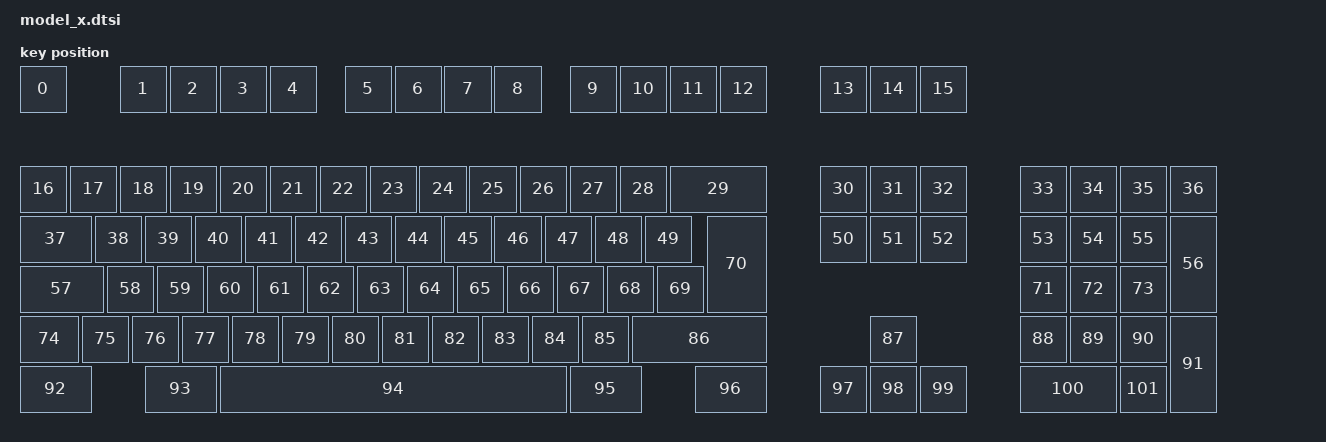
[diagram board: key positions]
#include <physical_layouts.dtsi>

/ {
    model_x_physical_layout: model_x_physical_layout {
        compatible = "zmk,physical-layout";
        display-name = "Default";
        transform = <&default_transform>;

        keys  //                     w   h    x    y     rot    rx    ry
            = <&key_physical_attrs 100 100    0    0       0     0     0>
            , <&key_physical_attrs 100 100  200    0       0     0     0>
            , <&key_physical_attrs 100 100  300    0       0     0     0>
            , <&key_physical_attrs 100 100  400    0       0     0     0>
            , <&key_physical_attrs 100 100  500    0       0     0     0>
            , <&key_physical_attrs 100 100  650    0       0     0     0>
            , <&key_physical_attrs 100 100  750    0       0     0     0>
            , <&key_physical_attrs 100 100  850    0       0     0     0>
            , <&key_physical_attrs 100 100  950    0       0     0     0>
            , <&key_physical_attrs 100 100  1100   0       0     0     0>
            , <&key_physical_attrs 100 100  1200   0       0     0     0>
            , <&key_physical_attrs 100 100  1300   0       0     0     0>
            , <&key_physical_attrs 100 100  1400   0       0     0     0>
            , <&key_physical_attrs 100 100  1600   0       0     0     0>
            , <&key_physical_attrs 100 100  1700   0       0     0     0>
            , <&key_physical_attrs 100 100  1800   0       0     0     0>

            , <&key_physical_attrs 100 100    0    200     0     0     0>
            , <&key_physical_attrs 100 100  100    200     0     0     0>
            , <&key_physical_attrs 100 100  200    200     0     0     0>
            , <&key_physical_attrs 100 100  300    200     0     0     0>
            , <&key_physical_attrs 100 100  400    200     0     0     0>
            , <&key_physical_attrs 100 100  500    200     0     0     0>
            , <&key_physical_attrs 100 100  600    200     0     0     0>
            , <&key_physical_attrs 100 100  700    200     0     0     0>
            , <&key_physical_attrs 100 100  800    200     0     0     0>
            , <&key_physical_attrs 100 100  900    200     0     0     0>
            , <&key_physical_attrs 100 100  1000   200     0     0     0>
            , <&key_physical_attrs 100 100  1100   200     0     0     0>
            , <&key_physical_attrs 100 100  1200   200     0     0     0>
            , <&key_physical_attrs 200 100  1300   200     0     0     0>
            , <&key_physical_attrs 100 100  1600   200     0     0     0>
            , <&key_physical_attrs 100 100  1700   200     0     0     0>
            , <&key_physical_attrs 100 100  1800   200     0     0     0>
            , <&key_physical_attrs 100 100  2000   200     0     0     0>
            , <&key_physical_attrs 100 100  2100   200     0     0     0>
            , <&key_physical_attrs 100 100  2200   200     0     0     0>
            , <&key_physical_attrs 100 100  2300   200     0     0     0>

            , <&key_physical_attrs 150 100    0    300     0     0     0>
            , <&key_physical_attrs 100 100  150    300     0     0     0>
            , <&key_physical_attrs 100 100  250    300     0     0     0>
            , <&key_physical_attrs 100 100  350    300     0     0     0>
            , <&key_physical_attrs 100 100  450    300     0     0     0>
            , <&key_physical_attrs 100 100  550    300     0     0     0>
            , <&key_physical_attrs 100 100  650    300     0     0     0>
            , <&key_physical_attrs 100 100  750    300     0     0     0>
            , <&key_physical_attrs 100 100  850    300     0     0     0>
            , <&key_physical_attrs 100 100  950    300     0     0     0>
            , <&key_physical_attrs 100 100  1050   300     0     0     0>
            , <&key_physical_attrs 100 100  1150   300     0     0     0>
            , <&key_physical_attrs 100 100  1250   300     0     0     0>
            , <&key_physical_attrs 100 100  1600   300     0     0     0>
            , <&key_physical_attrs 100 100  1700   300     0     0     0>
            , <&key_physical_attrs 100 100  1800   300     0     0     0>
            , <&key_physical_attrs 100 100  2000   300     0     0     0>
            , <&key_physical_attrs 100 100  2100   300     0     0     0>
            , <&key_physical_attrs 100 100  2200   300     0     0     0>
            , <&key_physical_attrs 100 200  2300   300     0     0     0>

            , <&key_physical_attrs 175 100    0    400     0     0     0>
            , <&key_physical_attrs 100 100  175    400     0     0     0>
            , <&key_physical_attrs 100 100  275    400     0     0     0>
            , <&key_physical_attrs 100 100  375    400     0     0     0>
            , <&key_physical_attrs 100 100  475    400     0     0     0>
            , <&key_physical_attrs 100 100  575    400     0     0     0>
            , <&key_physical_attrs 100 100  675    400     0     0     0>
            , <&key_physical_attrs 100 100  775    400     0     0     0>
            , <&key_physical_attrs 100 100  875    400     0     0     0>
            , <&key_physical_attrs 100 100  975    400     0     0     0>
            , <&key_physical_attrs 100 100  1075   400     0     0     0>
            , <&key_physical_attrs 100 100  1175   400     0     0     0>
            , <&key_physical_attrs 100 100  1275   400     0     0     0>
            , <&key_physical_attrs 125 200  1375   300     0     0     0>
            , <&key_physical_attrs 100 100  2000   400     0     0     0>
            , <&key_physical_attrs 100 100  2100   400     0     0     0>
            , <&key_physical_attrs 100 100  2200   400     0     0     0>

            , <&key_physical_attrs 125 100    0    500     0     0     0>
            , <&key_physical_attrs 100 100  125    500     0     0     0>
            , <&key_physical_attrs 100 100  225    500     0     0     0>
            , <&key_physical_attrs 100 100  325    500     0     0     0>
            , <&key_physical_attrs 100 100  425    500     0     0     0>
            , <&key_physical_attrs 100 100  525    500     0     0     0>
            , <&key_physical_attrs 100 100  625    500     0     0     0>
            , <&key_physical_attrs 100 100  725    500     0     0     0>
            , <&key_physical_attrs 100 100  825    500     0     0     0>
            , <&key_physical_attrs 100 100  925    500     0     0     0>
            , <&key_physical_attrs 100 100  1025   500     0     0     0>
            , <&key_physical_attrs 100 100  1125   500     0     0     0>
            , <&key_physical_attrs 275 100  1225   500     0     0     0>
            , <&key_physical_attrs 100 100  1700   500     0     0     0>
            , <&key_physical_attrs 100 100  2000   500     0     0     0>
            , <&key_physical_attrs 100 100  2100   500     0     0     0>
            , <&key_physical_attrs 100 100  2200   500     0     0     0>
            , <&key_physical_attrs 100 200  2300   500     0     0     0>

            , <&key_physical_attrs 150 100    0    600     0     0     0>
            , <&key_physical_attrs 150 100  250    600     0     0     0>
            , <&key_physical_attrs 700 100  400    600     0     0     0>
            , <&key_physical_attrs 150 100  1100   600     0     0     0>
            , <&key_physical_attrs 150 100  1350   600     0     0     0>
            , <&key_physical_attrs 100 100  1600   600     0     0     0>
            , <&key_physical_attrs 100 100  1700   600     0     0     0>
            , <&key_physical_attrs 100 100  1800   600     0     0     0>
            , <&key_physical_attrs 200 100  2000   600     0     0     0>
            , <&key_physical_attrs 100 100  2200   600     0     0     0>


            ;
    };
};
